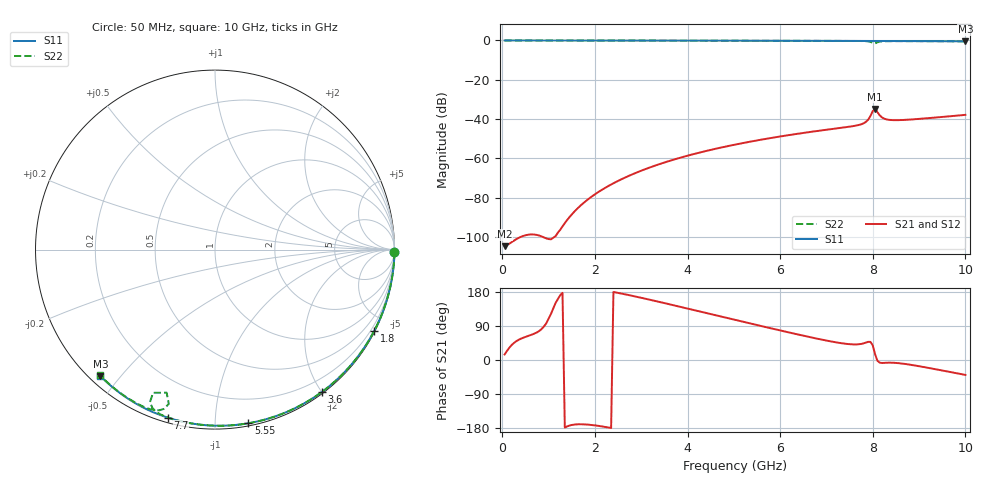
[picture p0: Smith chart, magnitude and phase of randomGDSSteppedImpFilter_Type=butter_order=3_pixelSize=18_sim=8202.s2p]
! freq	dB(S11)	phase(S11)	dB(S12)	phase(S12)
!  dB(S21)	phase(S21)	dB(S22)	phase(S22)
!S-par simulation data
#  GHz  S  DB  R 50
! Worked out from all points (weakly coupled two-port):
!   200 points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, 50 MHz to 10 GHz, reference 50 ohm
!   highest |S21| = -34.85 dB at 8.05 GHz (marker M1); lowest = -104.7 dB at 50 MHz (marker M2)
!   lowest |S11| = -0.4 dB at 10 GHz (marker M3), VSWR 39.74, Z = 1.51 - j22.1 ohm
!   |S11| at or under -10 dB: nowhere
!   |S22| runs from -1.5 to 0.0 dB; largest |S21 - S12| = 0
!   S11 on the Smith chart (normalised r, x): 50 MHz: open; 1.8 GHz: 0.04, -4.15; 3.6 GHz: 0.02, -2.01; 5.55 GHz: 0.02, -1.21; 7.7 GHz: 0.02, -0.76; 10 GHz: 0.03, -0.44
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0.05  -0.00 -0.8  -104.66 14.6  -104.66 14.6  -0.00 -0.8
0.9  -0.02 -13.7  -100.23 88.7  -100.23 88.7  -0.02 -13.7
1.75  -0.03 -26.3  -82.76 -169.8  -82.76 -169.8  -0.03 -26.4
1.8  -0.03 -27.1  -81.78 -170.1  -81.78 -170.1  -0.03 -27.2
1.9  -0.04 -28.6  -79.96 -171.1  -79.96 -171.1  -0.04 -28.6
2.25  -0.04 -33.7  -74.60 -177.2  -74.60 -177.2  -0.04 -33.8
2.65  -0.05 -39.5  -69.76 173.4  -69.76 173.4  -0.05 -39.6
3.4  -0.07 -50.2  -62.87 153.0  -62.87 153.0  -0.07 -50.3
3.6  -0.07 -53.0  -61.35 147.3  -61.35 147.3  -0.07 -53.1
5.05  -0.11 -72.6  -52.88 105.2  -52.88 105.2  -0.11 -72.9
5.55  -0.13 -79.1  -50.65 90.8  -50.65 90.8  -0.13 -79.4
6.7  -0.18 -93.6  -46.38 58.8  -46.38 58.8  -0.18 -94.1
7.7  -0.24 -105.6  -42.99 41.6  -42.99 41.6  -0.27 -107.4
7.8  -0.25 -106.8  -42.18 43.9  -42.18 43.9  -0.32 -109.2
7.9  -0.26 -108.0  -40.32 47.9  -40.32 47.9  -0.46 -111.6
8  -0.27 -109.1  -35.90 38.5  -35.90 38.5  -1.22 -113.4
8.05  -0.26 -109.7  -34.85 15.2  -34.85 15.2  -1.50 -108.7
8.1  -0.27 -110.3  -36.44 -1.9  -36.44 -1.9  -0.95 -106.7
8.2  -0.27 -111.5  -39.17 -7.9  -39.17 -7.9  -0.48 -109.0
8.35  -0.29 -113.3  -40.38 -7.0  -40.38 -7.0  -0.36 -111.9
8.75  -0.32 -117.9  -40.33 -11.3  -40.33 -11.3  -0.34 -117.5
10  -0.44 -132.2  -37.84 -39.3  -37.84 -39.3  -0.46 -132.6
